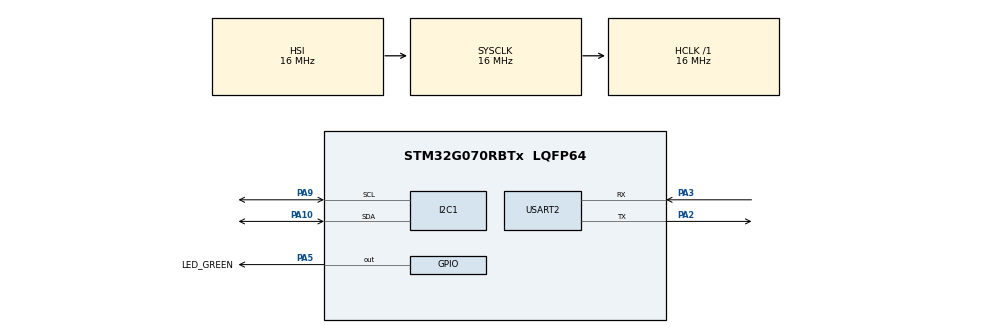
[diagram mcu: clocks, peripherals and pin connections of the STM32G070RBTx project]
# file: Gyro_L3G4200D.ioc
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Mcu.Family=STM32G0
Mcu.Name=STM32G070RBTx
Mcu.Package=LQFP64
NVIC.TIM1_BRK_UP_TRG_COM_IRQn=true\:3\:0\:false\:false\:true\:false\:true
NVIC.TimeBase=TIM1_BRK_UP_TRG_COM_IRQn
NVIC.TimeBaseIP=TIM1
PA10.Mode=I2C
PA10.Signal=I2C1_SDA
PA13.GPIO_Label=TMS
PA13.Mode=Serial_Wire
PA13.Signal=SYS_SWDIO
PA14-BOOT0.GPIO_Label=TCK
PA14-BOOT0.Mode=Serial_Wire
PA14-BOOT0.Signal=SYS_SWCLK
PA2.GPIO_PuPd=GPIO_PULLUP
PA2.Mode=Asynchronous
PA2.Signal=USART2_TX
PA3.GPIO_PuPd=GPIO_PULLUP
PA3.Mode=Asynchronous
PA3.Signal=USART2_RX
PA5.GPIO_Label=LED_GREEN
PA5.GPIO_Speed=GPIO_SPEED_FREQ_HIGH
PA5.Signal=GPIO_Output
PA9.Mode=I2C
PA9.Signal=I2C1_SCL
PC13.Mode=SYS_WakeUp1
PC13.Signal=SYS_WKUP2
PC14-OSC32_IN\ (PC14).Mode=LSE-External-Oscillator
PC14-OSC32_IN\ (PC14).Signal=RCC_OSC32_IN
PC15-OSC32_OUT\ (PC15).Mode=LSE-External-Oscillator
PC15-OSC32_OUT\ (PC15).Signal=RCC_OSC32_OUT
PF0-OSC_IN\ (PF0).GPIO_Label=MCO
PF0-OSC_IN\ (PF0).Mode=HSE-External-Clock-Source
PF0-OSC_IN\ (PF0).Signal=RCC_OSC_IN
ProjectManager.HeapSize=0x200
ProjectManager.StackSize=0x400
ProjectManager.TargetToolchain=STM32CubeIDE
RCC.AHBFreq_Value=16000000
RCC.CortexFreq_Value=16000000
RCC.EXTERNAL_CLOCK_VALUE=12288000
RCC.HCLKFreq_Value=16000000
RCC.HSE_VALUE=8000000
RCC.HSI_VALUE=16000000
RCC.SYSCLKFreq_VALUE=16000000
RCC.VCOOutputFreq_Value=128000000
USART2.VirtualMode-Asynchronous=VM_ASYNC
USART2.WordLength=WORDLENGTH_7B
VP_SYS_VS_DBSignals.Mode=DisableDeadBatterySignals
VP_SYS_VS_tim1.Mode=TIM1
board=NUCLEO-G070RB

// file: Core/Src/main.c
/* USER CODE BEGIN Header */
/**
  ******************************************************************************
  * @file           : main.c
  * @brief          : Main program body
  ******************************************************************************
  * @attention
  *
  * Copyright (c) 2022 STMicroelectronics.
  * All rights reserved.
  *
  * This software is licensed under terms that can be found in the LICENSE file
  * in the root directory of this software component.
  * If no LICENSE file comes with this software, it is provided AS-IS.
  *
  ******************************************************************************
  */
/* USER CODE END Header */
#include "main.h"

/* USER CODE BEGIN Includes */
#include "Gyro_l3g4200.h"
/* USER CODE END Includes */

I2C_HandleTypeDef hi2c1;

UART_HandleTypeDef huart2;

void SystemClock_Config(void);
static void MX_GPIO_Init(void);
static void MX_USART2_UART_Init(void);
static void MX_I2C1_Init(void);

/* USER CODE BEGIN 0 */
//global variable
uint8_t bufferData[10]={};
int16_t rollAxisData=0;
int16_t pitchAxisData=0;
int16_t yawAxisSData=0;
/* USER CODE END 0 */

int main(void)
{

  /* MCU Configuration--------------------------------------------------------*/

  /* Reset of all peripherals, Initializes the Flash interface and the Systick. */
  HAL_Init();

  /* Configure the system clock */
  SystemClock_Config();

  /* Initialize all configured peripherals */
  MX_GPIO_Init();
  MX_USART2_UART_Init();
  MX_I2C1_Init();

  /* Infinite loop */
  /* USER CODE BEGIN WHILE */
  //test only
  //choose device mode from enum
  enum deviceOperationMode setDeviceIntoMode = Device_Mode_Normal;
  //choose buffer mode from enum
  enum bufferOperationMode setBufferMode = Buffer_Mode_Bypass;
  //set device mode
//  setDeviceMode(setDeviceIntoMode, &hi2c1);
  setDeviceIntoNormal(&hi2c1);
  HAL_Delay(300);
  //set buffer mode
  setBuffferMode(setBufferMode, &hi2c1);
  //enable buffer
  setFIFOEnable(&hi2c1);

  while (1)
  {
	  //test only
	  bufferData[0]=readDeviceName(&hi2c1);
	  HAL_Delay(10);
	  bufferData[1]=readControlRegister1(&hi2c1);
	  HAL_Delay(10);
	  bufferData[2]=readOutputTemperature(&hi2c1);
	  HAL_Delay(10);
	  bufferData[3]=readRegister(&hi2c1, DEVICE_FIFO_CTRL_REG);
	  HAL_Delay(10);
	  bufferData[4]=isFIFOstoreFull(&hi2c1);
	  HAL_Delay(10);
	  bufferData[5]=isFIFOstoreEmpty(&hi2c1);
	  HAL_Delay(10);
	  rollAxisData = readRollValue(&hi2c1);
	  HAL_Delay(10);
	  pitchAxisData = readPitchValue(&hi2c1);
	  HAL_Delay(10);
	  yawAxisSData = readYawValue(&hi2c1);
	  HAL_Delay(10);
    /* USER CODE END WHILE */

  }
}

void SystemClock_Config(void)
{
  RCC_OscInitTypeDef RCC_OscInitStruct = {0};
  RCC_ClkInitTypeDef RCC_ClkInitStruct = {0};

  /** Configure the main internal regulator output voltage
  */
  HAL_PWREx_ControlVoltageScaling(PWR_REGULATOR_VOLTAGE_SCALE1);
  /** Initializes the RCC Oscillators according to the specified parameters
  * in the RCC_OscInitTypeDef structure.
  */
  RCC_OscInitStruct.OscillatorType = RCC_OSCILLATORTYPE_HSI;
  RCC_OscInitStruct.HSIState = RCC_HSI_ON;
  RCC_OscInitStruct.HSIDiv = RCC_HSI_DIV1;
  RCC_OscInitStruct.HSICalibrationValue = RCC_HSICALIBRATION_DEFAULT;
  RCC_OscInitStruct.PLL.PLLState = RCC_PLL_NONE;
  if (HAL_RCC_OscConfig(&RCC_OscInitStruct) != HAL_OK)
  {
    Error_Handler();
  }
  /** Initializes the CPU, AHB and APB buses clocks
  */
  RCC_ClkInitStruct.ClockType = RCC_CLOCKTYPE_HCLK|RCC_CLOCKTYPE_SYSCLK
                              |RCC_CLOCKTYPE_PCLK1;
  RCC_ClkInitStruct.SYSCLKSource = RCC_SYSCLKSOURCE_HSI;
  RCC_ClkInitStruct.AHBCLKDivider = RCC_SYSCLK_DIV1;
  RCC_ClkInitStruct.APB1CLKDivider = RCC_HCLK_DIV1;

  if (HAL_RCC_ClockConfig(&RCC_ClkInitStruct, FLASH_LATENCY_0) != HAL_OK)
  {
    Error_Handler();
  }
}

static void MX_I2C1_Init(void)
{

  hi2c1.Instance = I2C1;
  hi2c1.Init.Timing = 0x00303D5B;
  hi2c1.Init.OwnAddress1 = 0;
  hi2c1.Init.AddressingMode = I2C_ADDRESSINGMODE_7BIT;
  hi2c1.Init.DualAddressMode = I2C_DUALADDRESS_DISABLE;
  hi2c1.Init.OwnAddress2 = 0;
  hi2c1.Init.OwnAddress2Masks = I2C_OA2_NOMASK;
  hi2c1.Init.GeneralCallMode = I2C_GENERALCALL_DISABLE;
  hi2c1.Init.NoStretchMode = I2C_NOSTRETCH_DISABLE;
  if (HAL_I2C_Init(&hi2c1) != HAL_OK)
  {
    Error_Handler();
  }
  /** Configure Analogue filter
  */
  if (HAL_I2CEx_ConfigAnalogFilter(&hi2c1, I2C_ANALOGFILTER_ENABLE) != HAL_OK)
  {
    Error_Handler();
  }
  /** Configure Digital filter
  */
  if (HAL_I2CEx_ConfigDigitalFilter(&hi2c1, 0) != HAL_OK)
  {
    Error_Handler();
  }

}

static void MX_USART2_UART_Init(void)
{

  huart2.Instance = USART2;
  huart2.Init.BaudRate = 115200;
  huart2.Init.WordLength = UART_WORDLENGTH_7B;
  huart2.Init.StopBits = UART_STOPBITS_1;
  huart2.Init.Parity = UART_PARITY_NONE;
  huart2.Init.Mode = UART_MODE_TX_RX;
  huart2.Init.HwFlowCtl = UART_HWCONTROL_NONE;
  huart2.Init.OverSampling = UART_OVERSAMPLING_16;
  huart2.Init.OneBitSampling = UART_ONE_BIT_SAMPLE_DISABLE;
  huart2.Init.ClockPrescaler = UART_PRESCALER_DIV1;
  huart2.AdvancedInit.AdvFeatureInit = UART_ADVFEATURE_NO_INIT;
  if (HAL_UART_Init(&huart2) != HAL_OK)
  {
    Error_Handler();
  }
  if (HAL_UARTEx_SetTxFifoThreshold(&huart2, UART_TXFIFO_THRESHOLD_1_8) != HAL_OK)
  {
    Error_Handler();
  }
  if (HAL_UARTEx_SetRxFifoThreshold(&huart2, UART_RXFIFO_THRESHOLD_1_8) != HAL_OK)
  {
    Error_Handler();
  }
  if (HAL_UARTEx_DisableFifoMode(&huart2) != HAL_OK)
  {
    Error_Handler();
  }

}

static void MX_GPIO_Init(void)
{
  GPIO_InitTypeDef GPIO_InitStruct = {0};

  /* GPIO Ports Clock Enable */
  __HAL_RCC_GPIOC_CLK_ENABLE();
  __HAL_RCC_GPIOF_CLK_ENABLE();
  __HAL_RCC_GPIOA_CLK_ENABLE();

  /*Configure GPIO pin Output Level */
  HAL_GPIO_WritePin(LED_GREEN_GPIO_Port, LED_GREEN_Pin, GPIO_PIN_RESET);

  /*Configure GPIO pin : LED_GREEN_Pin */
  GPIO_InitStruct.Pin = LED_GREEN_Pin;
  GPIO_InitStruct.Mode = GPIO_MODE_OUTPUT_PP;
  GPIO_InitStruct.Pull = GPIO_NOPULL;
  GPIO_InitStruct.Speed = GPIO_SPEED_FREQ_HIGH;
  HAL_GPIO_Init(LED_GREEN_GPIO_Port, &GPIO_InitStruct);

}

void HAL_TIM_PeriodElapsedCallback(TIM_HandleTypeDef *htim)
{
  if (htim->Instance == TIM1) {
    HAL_IncTick();
  }
}

void Error_Handler(void)
{
  __disable_irq();
  while (1)
  {
  }
}
